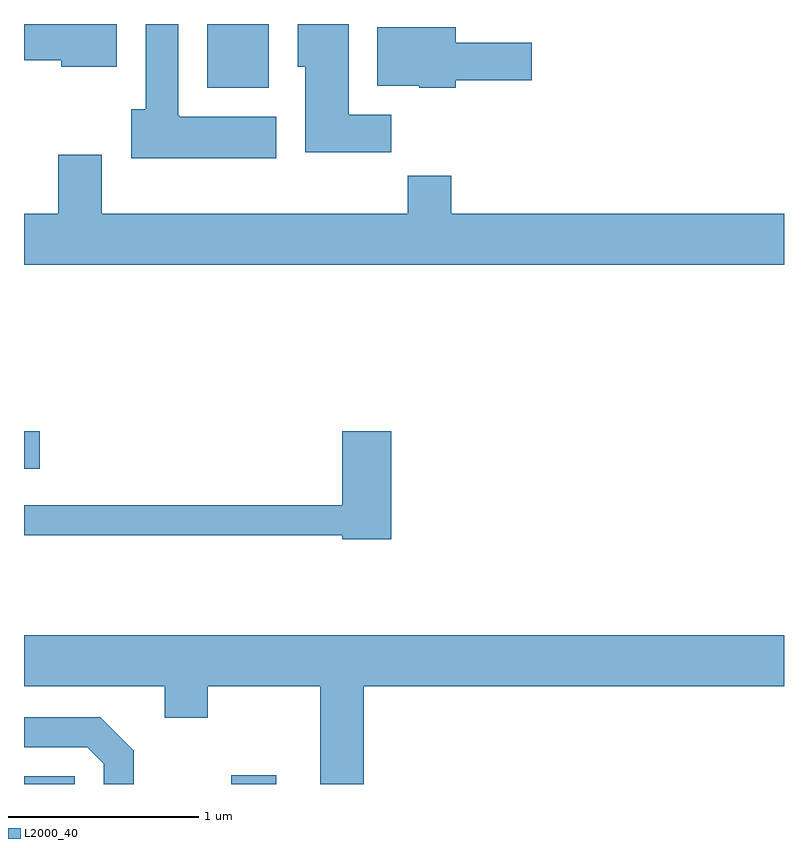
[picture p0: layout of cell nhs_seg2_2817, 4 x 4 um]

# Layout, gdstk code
import gdstk
lib = gdstk.Library(unit=1e-6, precision=1e-09)
def R(c, l, rs):  # rectangles x0, y0, x1, y1
    for r in rs: c.add(gdstk.rectangle(r[:2], r[2:], *l))
def P(c, l, *ps):  # polygons
    for p in ps: c.add(gdstk.Polygon(p, *l))
L2000_40 = (2000, 40)

nhs_seg2_2817 = lib.new_cell('nhs_seg2_2817')
R(nhs_seg2_2817, L2000_40, [(267.611,1047.802,267.879,1047.844), (268.703,1047.802,268.939,1047.849), (267.611,1049.461,267.694,1049.659), (268.576,1051.466,268.899,1051.802)])
P(nhs_seg2_2817, L2000_40, [(269.544,1051.324),(269.319,1051.324),(269.319,1051.802),(269.051,1051.802),(269.051,1051.576),(269.091,1051.576),(269.091,1051.126),(269.544,1051.126)],
  [(268.099,1051.802),(267.611,1051.802),(267.611,1051.611),(267.806,1051.611),(267.806,1051.576),(268.099,1051.576)],
  [(268.939,1051.314),(268.43,1051.314),(268.43,1051.32),(268.424,1051.32),(268.424,1051.802),(268.251,1051.802),(268.251,1051.354),(268.176,1051.354),(268.176,1051.096),(268.939,1051.096)],
  [(269.884,1051.506),(270.284,1051.506),(270.284,1051.704),(269.884,1051.704),(269.884,1051.784),(269.471,1051.784),(269.471,1051.476),(269.69,1051.476),(269.69,1051.466),(269.884,1051.466)],
  [(271.611,1050.804),(269.859,1050.804),(269.859,1051.004),(269.631,1051.004),(269.631,1050.804),(268.019,1050.804),(268.019,1051.114),(267.791,1051.114),(267.791,1050.804),(267.611,1050.804),(267.611,1050.536),(271.611,1050.536)],
  [(269.544,1049.659),(269.286,1049.659),(269.286,1049.269),(267.611,1049.269),(267.611,1049.111),(269.286,1049.111),(269.286,1049.091),(269.544,1049.091)],
  [(269.399,1048.316),(271.611,1048.316),(271.611,1048.584),(267.611,1048.584),(267.611,1048.316),(268.351,1048.316),(268.351,1048.151),(268.579,1048.151),(268.579,1048.316),(269.171,1048.316),(269.171,1047.802),(269.399,1047.802)],
  [(268.189,1047.977),(268.012,1048.154),(267.611,1048.154),(267.611,1047.996),(267.944,1047.996),(268.031,1047.909),(268.031,1047.802),(268.189,1047.802)])

lib.write_gds('nhs_seg2_2817.gds')
